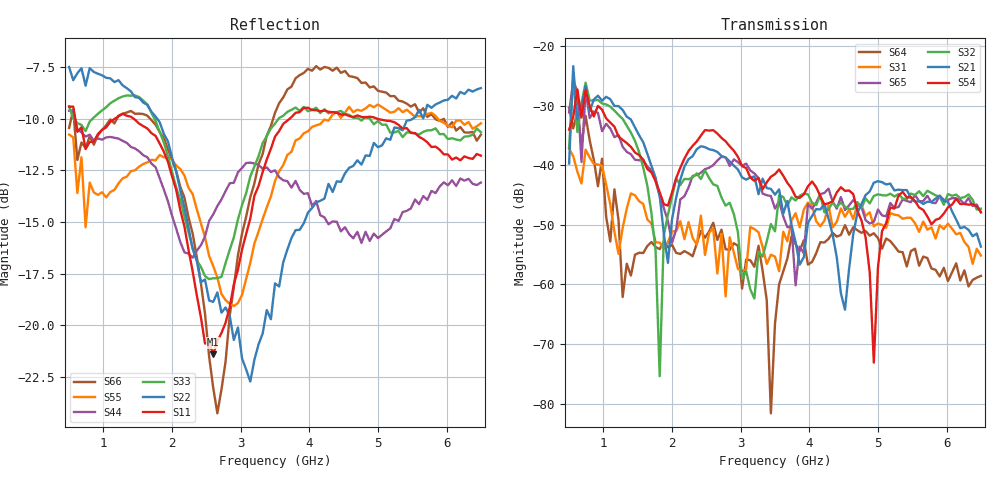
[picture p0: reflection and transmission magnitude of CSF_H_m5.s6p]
!Keysight Technologies,M9804A,MY58100912,A.14.10.03
!Date: Thursday, April 27, 2023 10:28:33
!Correction: S11(C  6-Port  )
!S12(C  6-Port  )
!S13(C  6-Port  )
!S14(C  6-Port  )
!S15(C  6-Port  )
!S16(C  6-Port  )
!S21(C  6-Port  )
!S22(C  6-Port  )
!S23(C  6-Port  )
!S24(C  6-Port  )
!S25(C  6-Port  )
!S26(C  6-Port  )
!S31(C  6-Port  )
!S32(C  6-Port  )
!S33(C  6-Port  )
!S34(C  6-Port  )
!S35(C  6-Port  )
!S36(C  6-Port  )
!S41(C  6-Port  )
!S42(C  6-Port  )
!S43(C  6-Port  )
!S44(C  6-Port  )
!S45(C  6-Port  )
!S46(C  6-Port  )
!S51(C  6-Port  )
!S52(C  6-Port  )
!S53(C  6-Port  )
!S54(C  6-Port  )
!S55(C  6-Port  )
!S56(C  6-Port  )
!S61(C  6-Port  )
!S62(C  6-Port  )
!S63(C  6-Port  )
!S64(C  6-Port  )
!S65(C  6-Port  )
!S66(C  6-Port  )
!S6P File: Measurement: :
# Hz S  RI  R 50
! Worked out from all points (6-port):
!   101 points, 500 MHz to 6.5 GHz, reference 50 ohm
!   strongest paths, dB at 500 MHz, 2 GHz, 3.5 GHz, 5 GHz, 6.5 GHz:
!     S54: -34.0, -44.5, -41.5, -57.2, -47.8
!     S21: -39.7, -49.0, -44.9, -42.7, -53.6
!     S32: -37.0, -45.3, -51.1, -44.9, -47.3
!     S65: -31.1, -53.0, -47.3, -47.4, -47.9
!     S31: -37.2, -51.1, -55.3, -49.8, -55.1
!     S64: -30.3, -53.4, -66.6, -52.2, -58.6
!   lowest |S11| = -21.4 dB at 2.6 GHz (marker M1), VSWR 1.19, Z = 42.4 + j2.19 ohm
!   |S11| at or under -10 dB: 588.8 MHz to 1.165 GHz (576.1 MHz wide, 65.7 % of centre); 1.44 GHz to 3.713 GHz (2.273 GHz wide, 88.2 % of centre); 4.987 GHz to end of sweep
